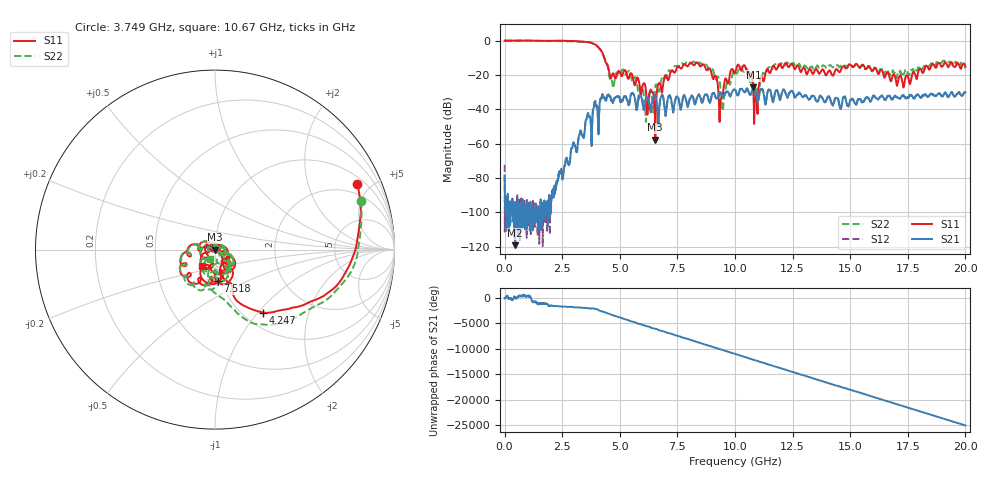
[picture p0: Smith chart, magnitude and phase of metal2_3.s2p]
#  HZ  S  RI  R  50.00
! Rohde & Schwarz Vector Network Analyzer
! Rohde-Schwarz,ZNB20-2Port,1311601062102128,3.60
! Created: UTC 4/29/2024, 3:56:09 PM
! freq[Hz]  re:S11  im:S11  re:S21  im:S21  re:S12  im:S12  re:S22  im:S22
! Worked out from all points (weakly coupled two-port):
!   2007 points, 100 kHz to 20 GHz, reference 50 ohm
!   highest |S21| = -27.21 dB at 10.8 GHz (marker M1); lowest = -119.1 dB at 458.7 MHz (marker M2)
!   lowest |S11| = -57.7 dB at 6.54 GHz (marker M3), VSWR 1.00, Z = 50.1 + j0.0107 ohm
!   |S11| at or under -10 dB: 4.327 GHz to end of sweep
!   |S22| runs from -47.4 to 0.1 dB; largest |S21 - S12| = 0.0025
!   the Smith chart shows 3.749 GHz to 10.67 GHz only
!   S11 on the Smith chart (normalised r, x): 3.749 GHz: 1.36, +4.16; 4.247 GHz: 1.22, -1.06; 7.518 GHz: 0.97, -0.35; 10.67 GHz: 0.85, -0.16
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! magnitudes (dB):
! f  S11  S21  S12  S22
! 100 kHz  0.0  -78.4  -72.3  0.1
! 458.7 MHz  0.0  -119.1  -98.7  0.0
! 2.233 GHz  0.0  -85.5  -85.1  -0.3
! 3.34 GHz  -0.6  -54.6  -54.3  -0.6
! 3.749 GHz  -1.2  -50.0  -49.7  -1.3
! 4.247 GHz  -7.1  -31.5  -31.2  -7.5
! 4.656 GHz  -20.2  -34.5  -34.7  -23.1
! 5.394 GHz  -21.9  -37.4  -37.5  -17.7
! 6.142 GHz  -30.5  -34.0  -33.9  -45.3
! 6.54 GHz  -57.7  -31.6  -31.7  -27.0
! 6.67 GHz  -25.1  -49.9  -50.0  -27.8
! 7.518 GHz  -15.0  -32.8  -32.9  -15.4
! 8.883 GHz  -16.1  -35.9  -36.0  -17.1
! 9.382 GHz  -34.3  -30.9  -31.0  -29.0
! 10 GHz  -18.7  -28.8  -28.7  -17.7
! 10.67 GHz  -18.5  -31.4  -31.4  -24.4
! 10.8 GHz  -29.7  -27.2  -27.3  -24.2
! 10.91 GHz  -32.5  -30.1  -30.2  -30.7
! 11.67 GHz  -14.6  -35.2  -35.1  -14.8
! 13.34 GHz  -18.7  -32.0  -32.2  -15.0
! 16.67 GHz  -19.4  -32.1  -32.0  -19.3
! 20 GHz  -15.1  -30.0  -30.2  -15.1
